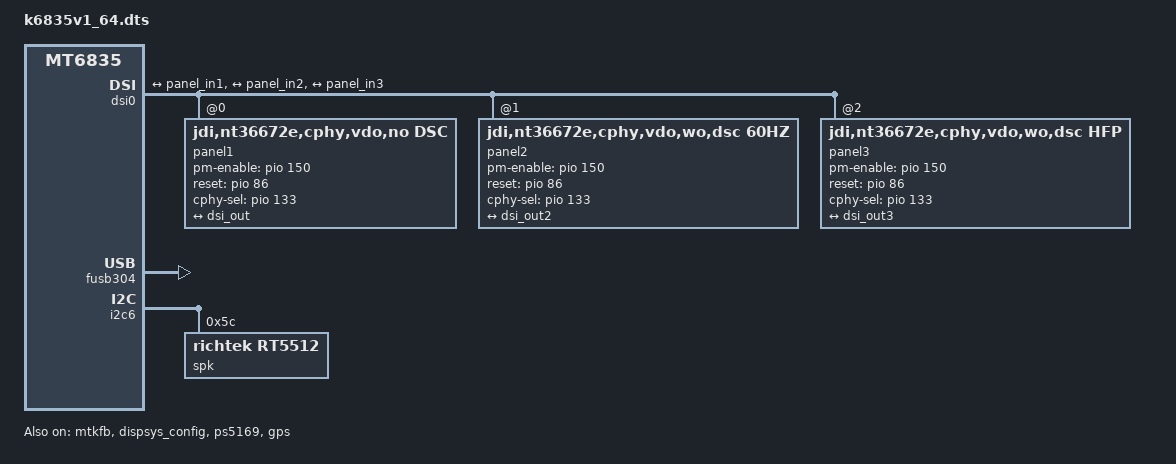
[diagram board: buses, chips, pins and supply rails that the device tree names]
// SPDX-License-Identifier: (GPL-2.0 OR MIT)
/*
 * Copyright (C) 2022 MediaTek Inc.
 */
/dts-v1/;
/plugin/;
#include <dt-bindings/interrupt-controller/arm-gic.h>
#include <dt-bindings/interrupt-controller/irq.h>
#include <dt-bindings/phy/phy.h>
#include <dt-bindings/pinctrl/mt6835-pinfunc.h>
#include "mediatek/mt6835_6377.dtsi"
#include "mediatek/cust_mt6835_camera.dtsi"

&mtk_leds {
	compatible = "mediatek,i2c-leds";

	backlight {
		led_mode = <6>;
		gate_enable = <1>;
		pwm_config = <0 1 0 0 0>;
	};
};

&pio {
	mtkfb_pins_lcm_led_en1: lcm_led_en1_gpio {
		pins_cmd_dat {
			pinmux = <PINMUX_GPIO150__FUNC_GPIO150>;
			slew-rate = <1>;
			output-high;
		};
	};

	mtkfb_pins_lcm_led_en0: lcm_led_en0_gpio {
		pins_cmd_dat {
			pinmux = <PINMUX_GPIO150__FUNC_GPIO150>;
			slew-rate = <1>;
			output-low;
		};
	};

	mtkfb_pins_lcm_rst_out1_gpio: lcm_rst_out1_gpio {
		pins_cmd_dat {
			pinmux = <PINMUX_GPIO86__FUNC_GPIO86>;
			slew-rate = <1>;
			output-high;
		};
	};

	mtkfb_pins_lcm_rst_out0_gpio: lcm_rst_out0_gpio {
		pins_cmd_dat {
			pinmux = <PINMUX_GPIO86__FUNC_GPIO86>;
			slew-rate = <1>;
			output-low;
		};
	};

	mtkfb_pins_lcm_dsi_te: lcm_dsi_te {
		pins_cmd_dat {
			pinmux = <PINMUX_GPIO85__FUNC_DSI_TE>;
		};
	};

	mtkfb_pins_lcm_cphy_out_gpio: lcm_cphy_out_gpio {
		pins_cmd_dat {
			pinmux = <PINMUX_GPIO133__FUNC_GPIO133>;
			slew-rate = <1>;
			output-high;
		};
	};
};

&mtkfb {
	pinctrl-names = "lcm_led_en1_gpio", "lcm_led_en0_gpio",
		"lcm_rst_out1_gpio", "lcm_rst_out0_gpio",
		"mode_te_te", "lcm_cphy_out_gpio";
	pinctrl-0 = <&mtkfb_pins_lcm_led_en1>;
	pinctrl-1 = <&mtkfb_pins_lcm_led_en0>;
	pinctrl-2 = <&mtkfb_pins_lcm_rst_out1_gpio>;
	pinctrl-3 = <&mtkfb_pins_lcm_rst_out0_gpio>;
	pinctrl-4 = <&mtkfb_pins_lcm_dsi_te>;
	pinctrl-5 = <&mtkfb_pins_lcm_cphy_out_gpio>;
	status = "okay";
};

&dispsys_config {
	pinctrl-names =
		"lcm_rst_out1_gpio", "lcm_rst_out0_gpio",
		"mode_te_te", "lcm_cphy_out_gpio";
	pinctrl-0 = <&mtkfb_pins_lcm_rst_out1_gpio>;
	pinctrl-1 = <&mtkfb_pins_lcm_rst_out0_gpio>;
	pinctrl-2 = <&mtkfb_pins_lcm_dsi_te>;
	pinctrl-3 = <&mtkfb_pins_lcm_cphy_out_gpio>;
	status = "okay";
};
&dsi0 {
	status = "okay";
	#address-cells = <1>;
	#size-cells = <0>;
	switch-fps = <90>;
	switch-mode = "vfp";
	panel1@0 {
		compatible = "jdi,nt36672e,cphy,vdo,no,dsc";
		reg = <0>;
		pm-enable-gpios = <&pio 150 0>;
		reset-gpios = <&pio 86 0>;
		cphy-sel-gpios = <&pio 133 0>;
		gate-ic = <4831>;
		pinctrl-names = "default";
		port {
			panel_in1: endpoint {
				remote-endpoint = <&dsi_out>;
			};
		};
	};
	panel2@1 {
		compatible = "jdi,nt36672e,cphy,vdo,wo,dsc,60hz";
		reg = <1>;
		pm-enable-gpios = <&pio 150 0>;
		reset-gpios = <&pio 86 0>;
		cphy-sel-gpios = <&pio 133 0>;
		gate-ic = <4831>;
		pinctrl-names = "default";
		port {
			panel_in2: endpoint {
				remote-endpoint = <&dsi_out2>;
			};
		};
	};
	panel3@2 {
		compatible = "jdi,nt36672e,cphy,vdo,wo,dsc,hfp";
		reg = <2>;
		pm-enable-gpios = <&pio 150 0>;
		reset-gpios = <&pio 86 0>;
		cphy-sel-gpios = <&pio 133 0>;
		gate-ic = <4831>;
		pinctrl-names = "default";
		port {
			panel_in3: endpoint {
				remote-endpoint = <&dsi_out3>;
			};
		};
	};
	ports {
		port {
			dsi_out: endpoint {
				remote-endpoint = <&panel_in1>;
			};
			dsi_out2: endpoint2 {
				remote-endpoint = <&panel_in2>;
			};
			dsi_out3: endpoint3 {
				remote-endpoint = <&panel_in3>;
			};
		};
	};
};

/* usb typec mux start */
&pio {
	sel_up: sel_high {
		pins_cmd_dat {
			pinmux = <PINMUX_GPIO54__FUNC_GPIO54>;
			output-high;
		};
	};

	sel_down: sel_low  {
		pins_cmd_dat {
			pinmux = <PINMUX_GPIO54__FUNC_GPIO54>;
			output-low;
		};
	};

	sw_enable: sw_enable {
		pins_cmd_dat {
			pinmux = <PINMUX_GPIO30__FUNC_GPIO30>;
			output-high;
		};
	};

	sw_disable: sw_disable {
		pins_cmd_dat {
			pinmux = <PINMUX_GPIO30__FUNC_GPIO30>;
			output-high;
		};
	};

	ps_enable: ps_enable {
		pins_cmd_dat {
			pinmux = <PINMUX_GPIO141__FUNC_GPIO141>;
			output-low;
		};
	};

	ps_disable: ps_disable {
		pins_cmd_dat {
			pinmux = <PINMUX_GPIO141__FUNC_GPIO141>;
			output-low;
		};
	};
};

&ps5169 {
	pinctrl-names = "enable", "disable";
	pinctrl-0 = <&ps_enable>;
	pinctrl-1 = <&ps_disable>;
	status = "okay";
};

&fusb304 {
	pinctrl-names = "sel_up", "sel_down",
		"enable", "disable";
	pinctrl-0 = <&sel_up>;
	pinctrl-1 = <&sel_down>;
	pinctrl-2 = <&sw_enable>;
	pinctrl-3 = <&sw_disable>;
	status = "okay";
};

&mt6375_typec {
	port {
		tcpc_typec_usb: endpoint@0 {
			remote-endpoint = <&ssusb_mux>;
		};
	};
};

&typec_mux_switch {
	orientation-switch;
	mode-switch;
	accessory;
	port {
		ssusb_mux: endpoint@0 {
			remote-endpoint = <&tcpc_typec_usb>;
		};
	};
};
/* usb typec mux end*/

/* GPS GPIO standardization start */
&pio {
	gps_pins_default: gps_default {
	};
	gps_l1_lna_pins_ol: gps_l1_lna@0 {
		pins_cmd_dat {
			pinmux = <PINMUX_GPIO123__FUNC_GPIO123>;
			output-low;
		};
	};
	gps_l1_lna_pins_dsp_ctrl: gps_l1_lna@1 {
		pins_cmd_dat {
			pinmux = <PINMUX_GPIO123__FUNC_GPS_L1_ELNA_EN>;
		};
	};
	gps_l1_lna_pins_oh: gps_l1_lna@2 {
		pins_cmd_dat {
			pinmux = <PINMUX_GPIO123__FUNC_GPIO123>;
			output-high;
		};
	};
	gps_l5_lna_pins_ol: gps_l5_lna@0 {
		pins_cmd_dat {
			pinmux = <PINMUX_GPIO124__FUNC_GPIO124>;
			output-low;
		};
	};
	gps_l5_lna_pins_dsp_ctrl: gps_l5_lna@1 {
		pins_cmd_dat {
			pinmux = <PINMUX_GPIO124__FUNC_GPS_L5_ELNA_EN>;
		};
	};
	gps_l5_lna_pins_oh: gps_l5_lna@2 {
		pins_cmd_dat {
			pinmux = <PINMUX_GPIO124__FUNC_GPIO124>;
			output-high;
		};
	};
};

&gps {
	pinctrl-names = "default",
		"gps_l1_lna_disable",
		"gps_l1_lna_dsp_ctrl",
		"gps_l1_lna_enable",
		"gps_l5_lna_disable",
		"gps_l5_lna_dsp_ctrl",
		"gps_l5_lna_enable";
	pinctrl-0 = <&gps_pins_default>;
	pinctrl-1 = <&gps_l1_lna_pins_ol>;
	pinctrl-2 = <&gps_l1_lna_pins_dsp_ctrl>;
	pinctrl-3 = <&gps_l1_lna_pins_oh>;
	pinctrl-4 = <&gps_l5_lna_pins_ol>;
	pinctrl-5 = <&gps_l5_lna_pins_dsp_ctrl>;
	pinctrl-6 = <&gps_l5_lna_pins_oh>;
	status = "okay";
};
/* GPS GPIO standardization end */

#include "mediatek/cust_mt6835_camera_6377_v4l2.dtsi"
#include "mediatek/cust_mt6835_touch_6377_1080x2400.dtsi"

&pdc {
	pd_vbus_upper_bound = <12000000>;
};

&charger{
	enable-vbat-mon = <0>;
};

&i2c6 {
	spk: speaker_amp@5c {
		compatible = "richtek,rt5512";
		#sound-dai-cells = <0>;
		reg = <0x5c>;
		status = "okay";
		sound-name-prefix = "Left";
	};
};

&sound {
	mediatek,spk-i2s = <3 0>;
	mediatek,speaker-codec {
		sound-dai = <&spk>;
	};
};

#include <k6835v1_64/cust.dtsi>
/*End of this file, DO NOT ADD ANYTHING HERE*/
